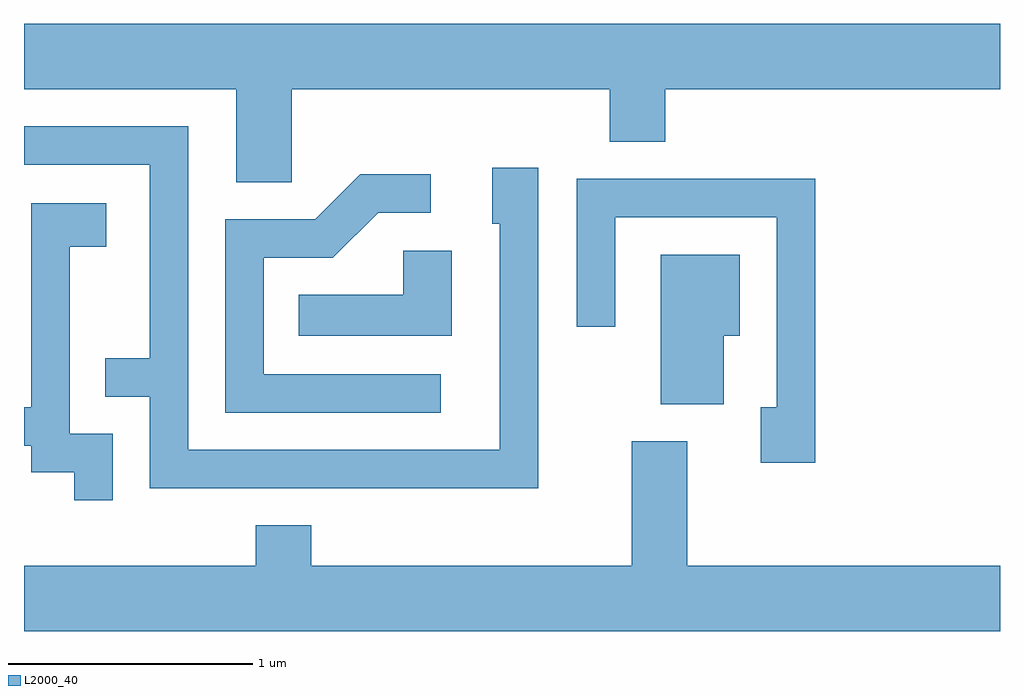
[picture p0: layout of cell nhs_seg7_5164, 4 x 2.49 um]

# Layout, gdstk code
import gdstk
lib = gdstk.Library(unit=1e-6, precision=1e-09)
def P(c, l, *ps):  # polygons
    for p in ps: c.add(gdstk.Polygon(p, *l))
L2000_40 = (2000, 40)

nhs_seg7_5164 = lib.new_cell('nhs_seg7_5164')
P(nhs_seg7_5164, L2000_40, [(344.709,1698.776),(346.011,1698.776),(346.011,1698.561),(346.239,1698.561),(346.239,1698.776),(347.611,1698.776),(347.611,1699.044),(343.611,1699.044),(343.611,1698.776),(344.481,1698.776),(344.481,1698.396),(344.709,1698.396)],
  [(345.719,1698.454),(345.531,1698.454),(345.531,1698.226),(345.561,1698.226),(345.561,1697.299),(344.284,1697.299),(344.284,1698.624),(343.611,1698.624),(343.611,1698.466),(344.126,1698.466),(344.126,1697.674),(343.943,1697.674),(343.943,1697.516),(344.126,1697.516),(344.126,1697.141),(345.719,1697.141)],
  [(345.318,1697.609),(344.594,1697.609),(344.594,1698.086),(344.877,1698.086),(345.062,1698.271),(345.278,1698.271),(345.278,1698.429),(344.989,1698.429),(344.804,1698.244),(344.436,1698.244),(344.436,1697.451),(345.318,1697.451)],
  [(346.854,1698.409),(345.876,1698.409),(345.876,1697.803),(346.034,1697.803),(346.034,1698.251),(346.696,1698.251),(346.696,1697.474),(346.631,1697.474),(346.631,1697.246),(346.854,1697.246)],
  [(343.974,1697.364),(343.799,1697.364),(343.799,1698.131),(343.949,1698.131),(343.949,1698.309),(343.641,1698.309),(343.641,1697.474),(343.611,1697.474),(343.611,1697.316),(343.641,1697.316),(343.641,1697.206),(343.816,1697.206),(343.816,1697.093),(343.974,1697.093)],
  [(345.364,1698.114),(345.166,1698.114),(345.166,1697.934),(344.738,1697.934),(344.738,1697.766),(345.364,1697.766)],
  [(346.479,1697.766),(346.544,1697.766),(346.544,1698.099),(346.221,1698.099),(346.221,1697.486),(346.479,1697.486)],
  [(347.611,1696.824),(346.329,1696.824),(346.329,1697.334),(346.101,1697.334),(346.101,1696.824),(344.789,1696.824),(344.789,1696.989),(344.561,1696.989),(344.561,1696.824),(343.611,1696.824),(343.611,1696.556),(347.611,1696.556)])

lib.write_gds('nhs_seg7_5164.gds')
